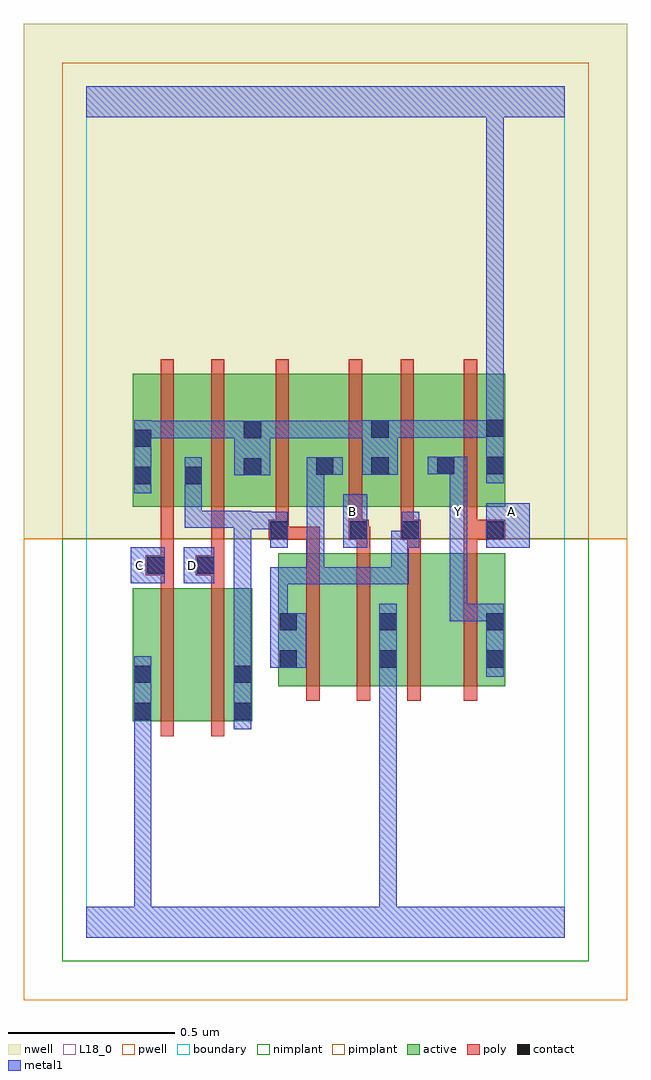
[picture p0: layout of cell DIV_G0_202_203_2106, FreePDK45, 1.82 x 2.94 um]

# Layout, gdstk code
import gdstk
lib = gdstk.Library(unit=1e-6, precision=1e-09)
def R(c, l, rs):  # rectangles x0, y0, x1, y1
    for r in rs: c.add(gdstk.rectangle(r[:2], r[2:], *l))
def A(c, l, x, y, w, h, nx, ny, dx, dy):  # array of equal rectangles
    R(c, l, [(x+i*dx, y+j*dy, x+i*dx+w, y+j*dy+h) for i in range(nx) for j in range(ny)])
active = (1, 0)
pwell = (2, 0)
nwell = (3, 0)
nimplant = (4, 0)
pimplant = (5, 0)
poly = (9, 0)
contact = (10, 0)
metal1 = (11, 0)
L18_0 = (18, 0)
boundary = (235, 0)

div_g0_202_203_2106 = lib.new_cell('DIV_G0_202_203_2106')
R(div_g0_202_203_2106, active, [(0.14,0.65,0.2,1.05), (0.14,0.65,0.32,1.05), (0.32,0.65,0.5,1.05), (0.44,0.65,0.5,1.05), (0.578,0.756,0.638,1.156), (0.578,0.756,0.758,1.156), (0.758,0.756,0.938,1.156), (0.878,0.756,1.08,1.156), (0.878,0.756,0.938,1.062), (1.08,0.756,1.26,1.156), (1.2,0.756,1.26,1.156), (0.14,1.296,0.2,1.696), (0.14,1.296,0.352,1.696), (0.292,1.296,0.53,1.696), (0.47,1.296,0.53,1.696), (0.47,1.296,0.748,1.696), (0.688,1.296,0.914,1.696), (0.854,1.296,1.112,1.696), (1.052,1.296,1.26,1.696), (1.2,1.296,1.26,1.696), (0.292,1.36,0.352,1.644), (0.688,1.388,0.748,1.644), (0.854,1.388,0.914,1.696), (1.052,1.39,1.112,1.644)])
R(div_g0_202_203_2106, pwell, [(-0.188,-0.188,1.628,1.2)])
R(div_g0_202_203_2106, nwell, [(-0.188,1.2,1.628,2.748)])
R(div_g0_202_203_2106, nimplant, [(-0.072,-0.072,1.512,1.2)])
R(div_g0_202_203_2106, pimplant, [(-0.072,1.2,1.512,2.632)])
A(div_g0_202_203_2106, poly, 0.662, 0.712, 0.04, 0.488, 3, 1, 0.152, 0)
A(div_g0_202_203_2106, poly, 0.662, 1.16, 0.04, 0.076, 3, 1, 0.152, 0)
R(div_g0_202_203_2106, poly, [(0.224,0.606,0.264,1.094), (0.376,0.606,0.416,1.094), (1.136,0.712,1.176,1.2), (0.224,1.054,0.264,1.13), (0.376,1.054,0.416,1.13), (0.18,1.09,0.264,1.15), (0.224,1.09,0.264,1.13), (0.224,1.09,0.264,1.13), (0.33,1.09,0.416,1.15), (0.224,1.11,0.264,1.292), (0.376,1.11,0.416,1.15), (0.376,1.11,0.416,1.15), (0.376,1.11,0.416,1.292), (1.136,1.16,1.176,1.236), (0.55,1.196,0.61,1.256), (0.57,1.196,0.61,1.236), (0.57,1.196,0.702,1.236), (0.79,1.196,0.85,1.256), (0.81,1.196,0.85,1.236), (0.81,1.196,0.854,1.236), (0.946,1.196,1.006,1.256), (1.136,1.196,1.26,1.256), (0.57,1.216,0.61,1.292), (0.79,1.216,0.83,1.292), (0.946,1.216,0.986,1.292), (0.946,1.216,0.986,1.256), (0.946,1.216,0.986,1.256), (1.136,1.216,1.176,1.292), (1.136,1.216,1.176,1.256), (1.136,1.216,1.176,1.256), (0.224,1.252,0.264,1.74), (0.376,1.252,0.416,1.74), (0.57,1.252,0.61,1.74), (0.79,1.252,0.83,1.74), (0.946,1.252,0.986,1.74), (1.136,1.252,1.176,1.74)])
R(div_g0_202_203_2106, contact, [(0.144,0.654,0.196,0.706), (0.444,0.654,0.496,0.706), (0.144,0.766,0.196,0.818), (0.444,0.766,0.496,0.818), (0.582,0.812,0.634,0.864), (0.882,0.812,0.934,0.864), (1.204,0.812,1.256,0.864), (0.582,0.924,0.634,0.976), (0.882,0.924,0.934,0.976), (1.204,0.924,1.256,0.976), (0.184,1.094,0.236,1.146), (0.334,1.094,0.386,1.146), (0.554,1.2,0.606,1.252), (0.794,1.2,0.846,1.252), (0.95,1.2,1.002,1.252), (1.204,1.2,1.256,1.252), (0.144,1.364,0.196,1.416), (0.296,1.364,0.348,1.416), (0.474,1.39,0.526,1.442), (0.692,1.392,0.744,1.444), (0.858,1.392,0.91,1.444), (1.056,1.394,1.108,1.446), (1.204,1.394,1.256,1.446), (0.144,1.476,0.196,1.528), (0.474,1.502,0.526,1.554), (0.858,1.504,0.91,1.556), (1.204,1.506,1.256,1.558)])
R(div_g0_202_203_2106, metal1, [(0,0,1.44,0.092), (0.144,0.04,0.196,0.092), (0.144,0.04,0.196,0.092), (0.144,0.04,0.196,0.092), (0.144,0.04,0.196,0.092), (0.144,0.04,0.196,0.092), (0.144,0.04,0.196,0.092), (0.144,0.04,0.196,0.092), (0.144,0.04,0.196,0.092), (0.144,0.04,0.196,0.678), (0.882,0.04,0.934,0.092), (0.882,0.04,0.934,0.092), (0.882,0.04,0.934,0.092), (0.882,0.04,0.934,0.092), (0.882,0.04,0.934,0.836), (0.144,0.626,0.196,0.678), (0.144,0.626,0.196,0.678), (0.144,0.626,0.196,0.678), (0.144,0.626,0.196,0.678), (0.144,0.626,0.196,0.846), (0.444,0.626,0.496,0.846), (0.882,0.784,0.934,0.836), (0.882,0.784,0.934,0.836), (0.882,0.784,0.934,0.836), (0.882,0.784,0.934,0.836), (0.882,0.784,0.934,0.836), (0.882,0.784,0.934,0.836), (0.882,0.784,0.934,0.836), (0.882,0.784,0.934,0.836), (0.882,0.784,0.934,1.004), (1.204,0.784,1.256,1.004), (0.444,0.794,0.496,0.846), (0.444,0.794,0.496,0.846), (0.444,0.794,0.496,1.28), (0.554,0.812,0.662,0.976), (0.554,0.924,0.606,1.114), (1.094,0.952,1.146,1.004), (1.094,0.952,1.256,1.004), (1.094,0.952,1.146,1.278), (1.204,0.952,1.256,1.004), (1.204,0.952,1.256,1.004), (0.554,1.062,0.606,1.114), (0.554,1.062,0.716,1.114), (0.664,1.062,0.716,1.114), (0.664,1.062,0.716,1.114), (0.664,1.062,0.716,1.114), (0.664,1.062,0.716,1.114), (0.664,1.062,0.716,1.114), (0.664,1.062,0.826,1.114), (0.664,1.062,0.716,1.444), (0.774,1.062,0.826,1.114), (0.774,1.062,0.97,1.114), (0.918,1.062,0.97,1.224), (0.134,1.066,0.236,1.174), (0.294,1.066,0.386,1.174), (0.554,1.172,0.606,1.28), (0.774,1.172,0.846,1.334), (0.918,1.172,1.002,1.224), (0.95,1.172,1.002,1.28), (1.204,1.172,1.334,1.306), (1.094,1.226,1.146,1.334), (0.444,1.228,0.606,1.28), (0.444,1.228,0.496,1.284), (0.554,1.228,0.606,1.28), (0.554,1.228,0.606,1.28), (0.296,1.232,0.348,1.284), (0.296,1.232,0.348,1.284), (0.296,1.232,0.348,1.284), (0.296,1.232,0.496,1.284), (0.296,1.232,0.348,1.388), (1.094,1.282,1.146,1.446), (0.144,1.336,0.196,1.556), (0.296,1.336,0.348,1.444), (1.204,1.366,1.256,1.586), (0.446,1.39,0.554,1.554), (0.664,1.392,0.772,1.444), (0.83,1.392,0.938,1.556), (1.028,1.394,1.136,1.446), (1.084,1.394,1.136,1.446), (1.084,1.394,1.146,1.446), (0.144,1.502,0.196,1.554), (0.144,1.502,0.196,1.554), (0.144,1.502,0.386,1.554), (0.334,1.502,0.386,1.554), (0.334,1.502,0.386,1.554), (0.334,1.502,0.386,1.554), (0.334,1.502,0.496,1.554), (0.444,1.502,0.496,1.554), (0.444,1.502,0.498,1.554), (0.502,1.502,0.716,1.554), (0.664,1.502,0.716,1.554), (0.664,1.502,0.716,1.554), (0.664,1.502,0.716,1.554), (0.664,1.502,0.882,1.554), (0.83,1.502,0.882,1.554), (0.83,1.502,0.882,1.554), (0.886,1.504,1.146,1.556), (1.094,1.504,1.146,1.556), (1.094,1.504,1.146,1.556), (1.094,1.504,1.146,1.556), (1.094,1.504,1.256,1.556), (1.204,1.504,1.256,1.556), (1.204,1.504,1.256,1.556), (1.204,1.534,1.256,2.52), (1.204,1.534,1.256,1.586), (1.204,1.534,1.256,1.586), (1.204,1.534,1.256,1.586), (1.204,1.534,1.256,1.586), (1.204,1.534,1.256,1.586), (1.204,1.534,1.256,1.586), (1.204,1.534,1.256,1.586), (1.204,1.534,1.256,1.586), (1.204,1.534,1.256,1.586), (1.204,1.534,1.256,1.586), (1.204,1.534,1.256,1.586), (1.204,1.534,1.256,1.586), (1.204,1.534,1.256,1.586), (1.204,1.534,1.256,1.586), (0,2.468,1.44,2.56), (1.204,2.468,1.256,2.52), (1.204,2.468,1.256,2.52)])
R(div_g0_202_203_2106, L18_0, [(0,0,1.44,0.092), (0.144,0.04,0.196,0.092), (0.144,0.04,0.196,0.092), (0.144,0.04,0.196,0.092), (0.144,0.04,0.196,0.092), (0.144,0.04,0.196,0.092), (0.144,0.04,0.196,0.092), (0.144,0.04,0.196,0.092), (0.144,0.04,0.196,0.092), (0.144,0.04,0.196,0.678), (0.882,0.04,0.934,0.092), (0.882,0.04,0.934,0.092), (0.882,0.04,0.934,0.092), (0.882,0.04,0.934,0.092), (0.882,0.04,0.934,0.836), (0.144,0.626,0.196,0.678), (0.144,0.626,0.196,0.678), (0.144,0.626,0.196,0.678), (0.144,0.626,0.196,0.678), (0.144,0.626,0.196,0.846), (0.882,0.784,0.934,0.836), (0.882,0.784,0.934,0.836), (0.882,0.784,0.934,0.836), (0.882,0.784,0.934,0.836), (0.882,0.784,0.934,0.836), (0.882,0.784,0.934,0.836), (0.882,0.784,0.934,0.836), (0.882,0.784,0.934,0.836), (0.882,0.784,0.934,1.004), (1.204,0.784,1.256,1.004), (1.094,0.952,1.146,1.004), (1.094,0.952,1.256,1.004), (1.094,0.952,1.146,1.278), (1.204,0.952,1.256,1.004), (1.204,0.952,1.256,1.004), (0.134,1.066,0.236,1.174), (0.294,1.066,0.386,1.174), (0.134,1.094,0.186,1.146), (0.294,1.094,0.346,1.146), (0.774,1.172,0.846,1.334), (1.204,1.172,1.334,1.306), (1.094,1.226,1.146,1.334), (0.774,1.254,0.826,1.306), (1.094,1.254,1.146,1.306), (1.254,1.254,1.306,1.306), (1.094,1.282,1.146,1.446), (0.144,1.336,0.196,1.556), (1.204,1.366,1.256,1.586), (0.446,1.39,0.554,1.554), (0.83,1.392,0.938,1.556), (1.028,1.394,1.136,1.446), (1.084,1.394,1.136,1.446), (1.084,1.394,1.146,1.446), (0.144,1.502,0.196,1.554), (0.144,1.502,0.196,1.554), (0.144,1.502,0.386,1.554), (0.334,1.502,0.386,1.554), (0.334,1.502,0.386,1.554), (0.334,1.502,0.386,1.554), (0.334,1.502,0.496,1.554), (0.444,1.502,0.496,1.554), (0.444,1.502,0.498,1.554), (0.502,1.502,0.716,1.554), (0.664,1.502,0.716,1.554), (0.664,1.502,0.716,1.554), (0.664,1.502,0.716,1.554), (0.664,1.502,0.882,1.554), (0.83,1.502,0.882,1.554), (0.83,1.502,0.882,1.554), (0.886,1.504,1.146,1.556), (1.094,1.504,1.146,1.556), (1.094,1.504,1.146,1.556), (1.094,1.504,1.146,1.556), (1.094,1.504,1.256,1.556), (1.204,1.504,1.256,1.556), (1.204,1.504,1.256,1.556), (1.204,1.534,1.256,1.586), (1.204,1.534,1.256,1.586), (1.204,1.534,1.256,1.586), (1.204,1.534,1.256,1.586), (1.204,1.534,1.256,1.586), (1.204,1.534,1.256,1.586), (1.204,1.534,1.256,1.586), (1.204,1.534,1.256,1.586), (1.204,1.534,1.256,1.586), (1.204,1.534,1.256,1.586), (1.204,1.534,1.256,1.586), (1.204,1.534,1.256,1.586), (1.204,1.534,1.256,1.586), (1.204,1.534,1.256,1.586), (1.204,1.534,1.256,2.52), (0,2.468,1.44,2.56), (1.204,2.468,1.256,2.52), (1.204,2.468,1.256,2.52)])
R(div_g0_202_203_2106, boundary, [(0,0,1.44,2.56)])
div_g0_202_203_2106.add(gdstk.Label('A', (1.28,1.28), layer=11, texttype=0))
div_g0_202_203_2106.add(gdstk.Label('B', (0.8,1.28), layer=11, texttype=0))
div_g0_202_203_2106.add(gdstk.Label('C', (0.16,1.12), layer=11, texttype=0))
div_g0_202_203_2106.add(gdstk.Label('D', (0.32,1.12), layer=11, texttype=0))
div_g0_202_203_2106.add(gdstk.Label('Y', (1.12,1.28), layer=11, texttype=0))

lib.write_gds('DIV_G0_202_203_2106.gds')
